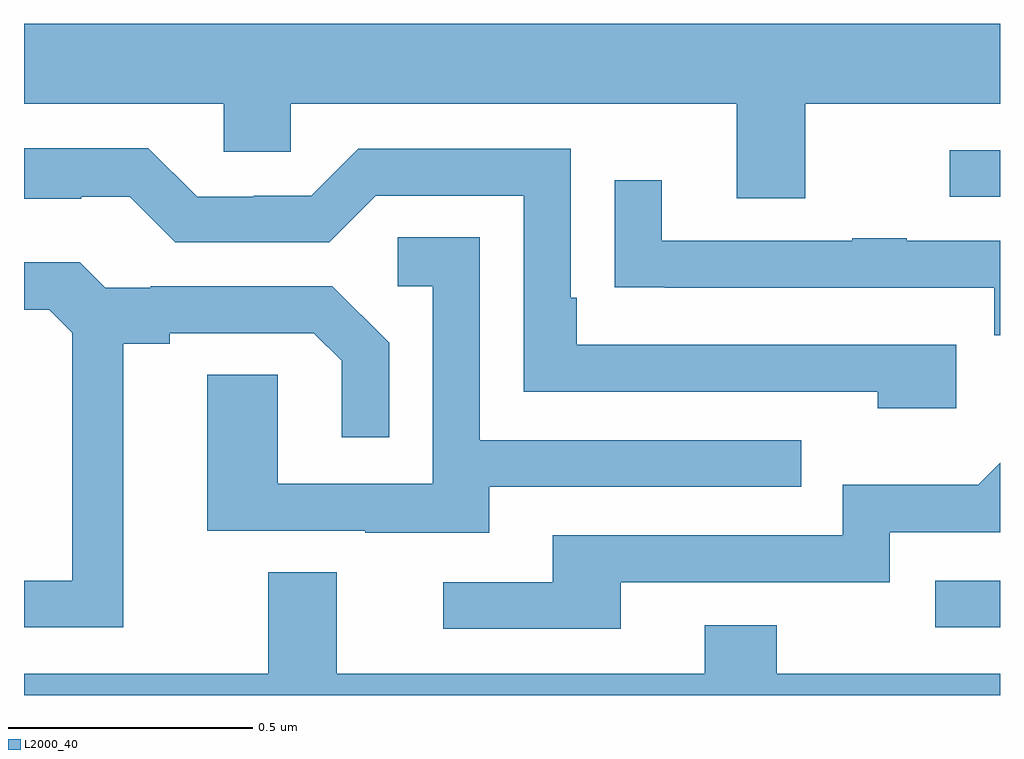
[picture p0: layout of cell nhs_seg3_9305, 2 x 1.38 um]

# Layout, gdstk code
import gdstk
lib = gdstk.Library(unit=1e-6, precision=1e-09)
def R(c, l, rs):  # rectangles x0, y0, x1, y1
    for r in rs: c.add(gdstk.rectangle(r[:2], r[2:], *l))
def P(c, l, *ps):  # polygons
    for p in ps: c.add(gdstk.Polygon(p, *l))
L2000_40 = (2000, 40)

nhs_seg3_9305 = lib.new_cell('nhs_seg3_9305')
R(nhs_seg3_9305, L2000_40, [(228.867,670.539,229,670.635), (228.897,671.421,229,671.517)])
P(nhs_seg3_9305, L2000_40, [(228.601,671.612),(229,671.612),(229,671.776),(227,671.776),(227,671.612),(227.409,671.612),(227.409,671.514),(227.547,671.514),(227.547,671.612),(228.461,671.612),(228.461,671.418),(228.601,671.418)],
  [(228.91,671.118),(228.133,671.118),(228.133,671.215),(228.12,671.215),(228.12,671.52),(227.685,671.52),(227.589,671.424),(227.471,671.424),(227.471,671.421),(227.355,671.421),(227.255,671.521),(227,671.521),(227,671.417),(227.117,671.417),(227.117,671.421),(227.217,671.421),(227.31,671.328),(227.625,671.328),(227.721,671.424),(228.024,671.424),(228.024,671.022),(228.749,671.022),(228.749,670.988),(228.91,670.988)],
  [(229,671.331),(228.809,671.331),(228.809,671.336),(228.697,671.336),(228.697,671.331),(228.307,671.331),(228.307,671.455),(228.211,671.455),(228.211,671.236),(228.313,671.236),(228.313,671.235),(228.988,671.235),(228.988,671.138),(229,671.138)],
  [(227.953,670.827),(228.593,670.827),(228.593,670.923),(227.934,670.923),(227.934,671.339),(227.766,671.339),(227.766,671.238),(227.838,671.238),(227.838,670.833),(227.52,670.833),(227.52,671.057),(227.375,671.057),(227.375,670.737),(227.699,670.737),(227.699,670.733),(227.953,670.733)],
  [(227.203,671.12),(227.299,671.12),(227.299,671.142),(227.594,671.142),(227.651,671.085),(227.651,670.929),(227.748,670.929),(227.748,671.122),(227.632,671.238),(227.26,671.238),(227.26,671.235),(227.166,671.235),(227.114,671.287),(227,671.287),(227,671.19),(227.052,671.19),(227.099,671.143),(227.099,670.635),(227,670.635),(227,670.539),(227.203,670.539)],
  [(228.223,670.632),(228.774,670.632),(228.774,670.734),(229,670.734),(229,670.876),(228.955,670.831),(228.678,670.831),(228.678,670.728),(228.083,670.728),(228.083,670.632),(227.859,670.632),(227.859,670.536),(228.223,670.536)],
  [(229,670.444),(228.543,670.444),(228.543,670.543),(228.395,670.543),(228.395,670.444),(227.641,670.444),(227.641,670.652),(227.501,670.652),(227.501,670.444),(227,670.444),(227,670.4),(229,670.4)])

lib.write_gds('nhs_seg3_9305.gds')
